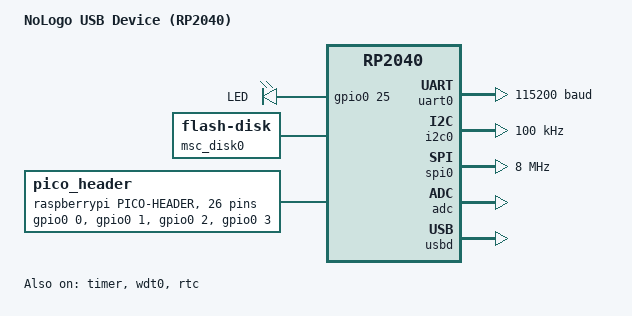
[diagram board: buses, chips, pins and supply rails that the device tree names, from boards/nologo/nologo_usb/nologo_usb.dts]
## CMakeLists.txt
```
# SPDX-License-Identifier: Apache-2.0

cmake_minimum_required(VERSION 3.20.0)

# Custom board root
list(APPEND BOARD_ROOT ${CMAKE_CURRENT_SOURCE_DIR})

# Default nologo_usb2 to M33 core
if(BOARD STREQUAL "nologo_usb2")
  set(BOARD "nologo_usb2/rp2350a/m33" CACHE STRING "" FORCE)
endif()

# Build flavor: debug or release
if(NOT DEFINED NOLOGO_BUILD_FLAVOR)
  string(TOLOWER "${CMAKE_BUILD_TYPE}" _nologo_bt_lc)
  if(_nologo_bt_lc STREQUAL "debug")
    set(NOLOGO_BUILD_FLAVOR "debug")
  else()
    set(NOLOGO_BUILD_FLAVOR "release")
  endif()
endif()

if(NOLOGO_BUILD_FLAVOR STREQUAL "debug")
  set(CONF_FILE "prj.conf;prj.debug.conf" CACHE STRING "" FORCE)
else()
  set(CONF_FILE "prj.conf;prj.release.conf" CACHE STRING "" FORCE)
endif()

find_package(Zephyr REQUIRED HINTS $ENV{ZEPHYR_BASE})
project(nologo_usb)

target_sources(app PRIVATE
  src/app_main.c
  src/nologo_cdc.c
  src/nologo_config.c
  src/nologo_hid.c
  src/nologo_script.c
  src/nologo_status_led.c
  src/nologo_usb.c
)

if(NOLOGO_BUILD_FLAVOR STREQUAL "debug")
  target_compile_definitions(app PRIVATE NOLOGO_DEBUG=1)
else()
  target_compile_definitions(app PRIVATE NOLOGO_DEBUG=0)
endif()
```

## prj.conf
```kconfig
# nologo_usb / nologo_usb2 common configuration

# Console on UART0 (printk goes here)
CONFIG_CONSOLE=y
CONFIG_UART_CONSOLE=y
CONFIG_PRINTK=y

CONFIG_SERIAL=y
CONFIG_UART_INTERRUPT_DRIVEN=y
CONFIG_UART_LINE_CTRL=y

# USB device stack (new stack)
CONFIG_USB_DEVICE_STACK_NEXT=y
CONFIG_USBD_HID_SUPPORT=y
CONFIG_USBD_CDC_ACM_CLASS=y

# Flash storage + FAT filesystem
CONFIG_DISK_ACCESS=y
CONFIG_DISK_DRIVER_FLASH=y
CONFIG_FILE_SYSTEM=y
CONFIG_FAT_FILESYSTEM_ELM=y
CONFIG_FS_FATFS_NUM_FILES=4
CONFIG_FS_FATFS_NUM_DIRS=4

# Logging (ERR level for UDC driver to hide transient "Endpoint busy" warnings)
CONFIG_LOG=y
CONFIG_USBD_LOG_LEVEL_WRN=y
CONFIG_UDC_DRIVER_LOG_LEVEL_ERR=y
CONFIG_USBD_HID_LOG_LEVEL_WRN=y
CONFIG_FLASHDISK_LOG_LEVEL_WRN=y

# WS2812 LED
CONFIG_LED_STRIP=y
CONFIG_WS2812_STRIP_RPI_PICO_PIO=y

# GPIO (for script disable pin)
CONFIG_GPIO=y

CONFIG_MAIN_STACK_SIZE=2048

# Heap for k_malloc (used by script parser)
CONFIG_HEAP_MEM_POOL_SIZE=4096
```

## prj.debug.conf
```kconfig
# Debug: USB MSC enabled

CONFIG_USBD_MSC_CLASS=y
CONFIG_USBD_MSC_LUNS_PER_INSTANCE=1
CONFIG_USBD_MSC_LOG_LEVEL_WRN=y
```

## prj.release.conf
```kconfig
# Release: USB MSC disabled

CONFIG_USBD_MSC_CLASS=n
```

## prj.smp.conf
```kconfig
#
# SMP / Multi-core Configuration Fragment (EXPERIMENTAL)
#
# This file is provided for reference. As of Zephyr 3.x, SMP is NOT
# officially supported on RP2040 or RP2350.
#
# RP2040 (Cortex-M0+) Limitations:
# - Cortex-M0+ lacks LDREX/STREX atomic instructions required for SMP spinlocks.
# - Zephyr's SMP implementation requires these atomics.
# - Multi-core usage requires platform-specific code (Pico SDK multicore API).
#
# RP2350 (Cortex-M33) Status:
# - Cortex-M33 has full atomic instruction support (ARMv8-M).
# - Zephyr SMP support is under development upstream.
# - May become available in future Zephyr releases.
#
# Alternative: Use Zephyr's cooperative threading model which provides
# effective concurrency through:
# - Multiple threads with priorities
# - Work queues (k_work, k_work_delayable)
# - Message queues, FIFOs, and other kernel primitives
#
# When SMP support is available upstream, enable with:
# CONFIG_SMP=y
# CONFIG_MP_MAX_NUM_CPUS=2
#
# For now, these settings are commented out:
# CONFIG_SMP=y
# CONFIG_MP_MAX_NUM_CPUS=2
# CONFIG_SCHED_IPI_SUPPORTED=y
```

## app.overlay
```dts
/*
 * Minimal devicetree overlay for:
 * - USB CDC ACM (RP2040 internal USB device controller)
 * - WS2812 LED strip on GPIO22 (PIO-based driver)
 */

#include <freq.h>
#include <zephyr/dt-bindings/gpio/gpio.h>
#include <zephyr/dt-bindings/led/led.h>
#include <zephyr/dt-bindings/pinctrl/rpi-pico-rp2040-pinctrl.h>

/ {
    /*
     * Keep console on UART0 for reliable early boot.
     * In Debug builds we route printk to USB CDC (and mirror to UART0) in firmware.
     */

    /* USB HID keyboard device (boot keyboard) */
    hid_dev_0: hid_dev_0 {
        compatible = "zephyr,hid-device";
        label = "HID0";
        protocol-code = "keyboard";
        /* Boot keyboard input report is 8 bytes */
        in-report-size = <8>;
        in-polling-period-us = <1000>;
    };

    aliases {
        led-strip = &ws2812;
    };

    /* Flash-backed disk for USB MSC (uses part of onboard flash) */
    msc_disk0 {
        compatible = "zephyr,flash-disk";
        partition = <&storage_partition>;
        disk-name = "NAND";
        cache-size = <4096>;
    };
};

/*
 * Reserve a slice of flash for the USB Mass Storage LUN.
 *
 * NOTE: Offset/size are relative to the start of flash0.
 * Default is the last 512 KiB of a 4 MiB flash (0x380000..0x3fffff).
 * If your application grows close to the end of flash, shrink/move this.
 */
&flash0 {
    partitions {
        compatible = "fixed-partitions";
        #address-cells = <1>;
        #size-cells = <1>;

        storage_partition: partition@380000 {
            label = "storage";
            reg = <0x00380000 0x00080000>;
        };
    };
};

/* PIO0 is disabled in the SoC dtsi; enable it for WS2812 */
&pio0 {
    status = "okay";

    pio-ws2812 {
        compatible = "worldsemi,ws2812-rpi_pico-pio";
        status = "okay";
        pinctrl-0 = <&ws2812_pio0_default>;
        pinctrl-names = "default";
        bit-waveform = <3>, <3>, <4>;

        ws2812: ws2812 {
            status = "okay";
            gpios = <&gpio0 22 GPIO_ACTIVE_HIGH>;
            chain-length = <1>;
            /*
             * Most WS2812/NeoPixel parts are GRB.
             * Keep status LED semantics: green=pressure, blue=printk, red=fault.
             */
            color-mapping = <LED_COLOR_ID_GREEN
                     LED_COLOR_ID_RED
                     LED_COLOR_ID_BLUE>;
            reset-delay = <280>;
            frequency = <DT_FREQ_K(800)>;
        };
    };
};

&pinctrl {
    ws2812_pio0_default: ws2812_pio0_default {
        ws2812 {
            pinmux = <PIO0_P22>;
        };
    };
};

/* Add USB CDC ACM UART instance to USB device controller */
&zephyr_udc0 {
    cdc_acm_uart0: cdc_acm_uart0 {
        compatible = "zephyr,cdc-acm-uart";
    };
};

/* UART0 remains enabled by the board, but console is redirected to USB */
```

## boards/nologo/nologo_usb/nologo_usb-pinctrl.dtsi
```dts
/*
 * SPDX-License-Identifier: Apache-2.0
 * nologo_usb pin control configuration (based on rpi_pico)
 */

#include <zephyr/dt-bindings/pinctrl/rpi-pico-rp2040-pinctrl.h>

&pinctrl {
	uart0_default: uart0_default {
		group1 {
			pinmux = <UART0_TX_P0>;
		};

		group2 {
			pinmux = <UART0_RX_P1>;
			input-enable;
		};
	};

	i2c0_default: i2c0_default {
		group1 {
			pinmux = <I2C0_SDA_P4>, <I2C0_SCL_P5>;
			input-enable;
			input-schmitt-enable;
		};
	};

	i2c1_default: i2c1_default {
		group1 {
			pinmux = <I2C1_SDA_P6>, <I2C1_SCL_P7>;
			input-enable;
			input-schmitt-enable;
		};
	};

	spi0_default: spi0_default {
		group1 {
			pinmux = <SPI0_CSN_P17>, <SPI0_SCK_P18>, <SPI0_TX_P19>;
		};

		group2 {
			pinmux = <SPI0_RX_P16>;
			input-enable;
		};
	};

	pwm_ch4b_default: pwm_ch4b_default {
		group1 {
			pinmux = <PWM_4B_P25>;
		};
	};

	adc_default: adc_default {
		group1 {
			pinmux = <ADC_CH0_P26>, <ADC_CH1_P27>, <ADC_CH2_P28>, <ADC_CH3_P29>;
			input-enable;
		};
	};

	/* WS2812 on GPIO22 via PIO0 */
	ws2812_pio0_default: ws2812_pio0_default {
		ws2812 {
			pinmux = <PIO0_P22>;
		};
	};
};
```

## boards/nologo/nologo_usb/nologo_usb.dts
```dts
/*
 * SPDX-License-Identifier: Apache-2.0
 *
 * NoLogo USB Device board definition based on Raspberry Pi Pico (RP2040)
 * Includes:
 * - USB CDC ACM (RP2040 internal USB device controller)
 * - WS2812 LED strip on GPIO22 (PIO-based driver)
 * - USB HID keyboard support
 * - Flash-backed USB MSC storage
 */

/dts-v1/;

#include <freq.h>
#include <raspberrypi/rpi_pico/rp2040.dtsi>
#include "nologo_usb-pinctrl.dtsi"

#include <zephyr/dt-bindings/gpio/gpio.h>
#include <zephyr/dt-bindings/led/led.h>
#include <zephyr/dt-bindings/pwm/pwm.h>
#include <zephyr/dt-bindings/i2c/i2c.h>

/ {
	model = "NoLogo USB Device (RP2040)";
	compatible = "nologo,nologo-usb", "raspberrypi,rpi-pico";

	chosen {
		zephyr,sram = &sram0;
		zephyr,flash = &flash0;
		zephyr,flash-controller = &ssi;
		zephyr,console = &uart0;
		zephyr,shell-uart = &uart0;
		zephyr,code-partition = &code_partition;
	};

	aliases {
		rtc = &rtc;
		watchdog0 = &wdt0;
		led0 = &led0;
		pwm-led0 = &pwm_led0;
		led-strip = &ws2812;
	};

	/* On-board LED (GPIO25) */
	leds {
		compatible = "gpio-leds";

		led0: led_0 {
			gpios = <&gpio0 25 GPIO_ACTIVE_HIGH>;
			label = "LED";
		};
	};

	pwm_leds {
		compatible = "pwm-leds";
		status = "disabled";

		pwm_led0: pwm_led_0 {
			pwms = <&pwm 9 PWM_MSEC(20) PWM_POLARITY_NORMAL>;
			label = "PWM_LED";
		};
	};

	/* USB HID keyboard device (boot keyboard) */
	hid_dev_0: hid_dev_0 {
		compatible = "zephyr,hid-device";
		label = "HID0";
		protocol-code = "keyboard";
		/* Boot keyboard input report is 8 bytes */
		in-report-size = <8>;
		/*
		 * Polling period: 8ms is a good balance for keyboard.
		 * 1ms was too aggressive and caused "Endpoint busy" errors
		 * on RP2040 USB controller.
		 */
		in-polling-period-us = <8000>;
	};

	/* Flash-backed disk for USB MSC (uses part of onboard flash) */
	msc_disk0 {
		compatible = "zephyr,flash-disk";
		partition = <&storage_partition>;
		disk-name = "NAND";
		cache-size = <4096>;
	};

	pico_header: connector {
		compatible = "raspberrypi,pico-header";
		#gpio-cells = <2>;
		gpio-map-mask = <0xffffffff 0xffffffc0>;
		gpio-map-pass-thru = <0 0x3f>;
		gpio-map = <0 0 &gpio0 0 0>,	/* GP0 */
			   <1 0 &gpio0 1 0>,	/* GP1 */
			   <2 0 &gpio0 2 0>,	/* GP2 */
			   <3 0 &gpio0 3 0>,	/* GP3 */
			   <4 0 &gpio0 4 0>,	/* GP4 */
			   <5 0 &gpio0 5 0>,	/* GP5 */
			   <6 0 &gpio0 6 0>,	/* GP6 */
			   <7 0 &gpio0 7 0>,	/* GP7 */
			   <8 0 &gpio0 8 0>,	/* GP8 */
			   <9 0 &gpio0 9 0>,	/* GP9 */
			   <10 0 &gpio0 10 0>,	/* GP10 */
			   <11 0 &gpio0 11 0>,	/* GP11 */
			   <12 0 &gpio0 12 0>,	/* GP12 */
			   <13 0 &gpio0 13 0>,	/* GP13 */
			   <14 0 &gpio0 14 0>,	/* GP14 */
			   <15 0 &gpio0 15 0>,	/* GP15 */
			   <16 0 &gpio0 16 0>,	/* GP16 */
			   <17 0 &gpio0 17 0>,	/* GP17 */
			   <18 0 &gpio0 18 0>,	/* GP18 */
			   <19 0 &gpio0 19 0>,	/* GP19 */
			   <20 0 &gpio0 20 0>,	/* GP20 */
			   <21 0 &gpio0 21 0>,	/* GP21 */
			   <22 0 &gpio0 22 0>,	/* GP22 */
			   <26 0 &gpio0 26 0>,	/* GP26 */
			   <27 0 &gpio0 27 0>,	/* GP27 */
			   <28 0 &gpio0 28 0>;	/* GP28 */
	};
};

/*
 * Flash partitions:
 * - 4 MiB total flash (common configuration)
 * - Last 512 KiB reserved for USB MSC storage
 */
&flash0 {
	reg = <0x10000000 DT_SIZE_M(4)>;

	partitions {
		compatible = "fixed-partitions";
		#address-cells = <1>;
		#size-cells = <1>;

		/* Reserved memory for the second stage bootloader */
		second_stage_bootloader: partition@0 {
			label = "second_stage_bootloader";
			reg = <0x00000000 0x100>;
			read-only;
		};

		/*
		 * Usable flash. Starts at 0x100, after the bootloader.
		 * Size is adjusted to leave room for storage partition.
		 */
		code_partition: partition@100 {
			label = "code-partition";
			reg = <0x100 0x37ff00>;
			read-only;
		};

		/*
		 * Storage partition for USB MSC.
		 * 512 KiB at the end of 4 MiB flash (0x380000..0x3fffff).
		 */
		storage_partition: partition@380000 {
			label = "storage";
			reg = <0x00380000 0x00080000>;
		};
	};
};

&uart0 {
	current-speed = <115200>;
	status = "okay";
	pinctrl-0 = <&uart0_default>;
	pinctrl-names = "default";
};

&gpio0 {
	status = "okay";
};

&i2c0 {
	clock-frequency = <I2C_BITRATE_STANDARD>;
	status = "okay";
	pinctrl-0 = <&i2c0_default>;
	pinctrl-names = "default";
};

&i2c1 {
	pinctrl-0 = <&i2c1_default>;
	pinctrl-names = "default";
	status = "disabled";
	clock-frequency = <I2C_BITRATE_FAST>;
};

&spi0 {
	clock-frequency = <DT_FREQ_M(8)>;
	status = "okay";
	pinctrl-0 = <&spi0_default>;
	pinctrl-names = "default";
};

&timer {
	status = "okay";
};

&wdt0 {
	status = "okay";
};

&rtc {
	clocks = <&clocks RPI_PICO_CLKID_CLK_RTC>;
	status = "okay";
};

&adc {
	status = "okay";
	pinctrl-0 = <&adc_default>;
	pinctrl-names = "default";
};

/* USB device controller */
zephyr_udc0: &usbd {
	status = "okay";

	/* USB CDC ACM UART instance for serial demo */
	cdc_acm_uart0: cdc_acm_uart0 {
		compatible = "zephyr,cdc-acm-uart";
	};
};

&pwm {
	pinctrl-0 = <&pwm_ch4b_default>;
	pinctrl-names = "default";
};

&vreg {
	regulator-always-on;
	regulator-allowed-modes = <REGULATOR_RPI_PICO_MODE_NORMAL>;
};

/* PIO0 for WS2812 LED strip */
&pio0 {
	status = "okay";

	pio-ws2812 {
		compatible = "worldsemi,ws2812-rpi_pico-pio";
		status = "okay";
		pinctrl-0 = <&ws2812_pio0_default>;
		pinctrl-names = "default";
		bit-waveform = <3>, <3>, <4>;

		ws2812: ws2812 {
			status = "okay";
			gpios = <&gpio0 22 GPIO_ACTIVE_HIGH>;
			chain-length = <1>;
			/*
			 * Most WS2812/NeoPixel parts are GRB.
			 * Keep status LED semantics: green=pressure, blue=printk, red=fault.
			 */
			color-mapping = <LED_COLOR_ID_GREEN
					 LED_COLOR_ID_RED
					 LED_COLOR_ID_BLUE>;
			reset-delay = <280>;
			frequency = <DT_FREQ_K(800)>;
		};
	};
};

/* Convenient aliases */
pico_spi: &spi0 {};
pico_i2c0: &i2c0 {};
pico_i2c1: &i2c1 {};
pico_serial: &uart0 {};
```

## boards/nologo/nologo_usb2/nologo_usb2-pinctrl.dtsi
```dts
/*
 * SPDX-License-Identifier: Apache-2.0
 * nologo_usb2 pin control configuration (based on rpi_pico2)
 */

#include <zephyr/dt-bindings/pinctrl/rpi-pico-rp2350a-pinctrl.h>

&pinctrl {
	uart0_default: uart0_default {
		group1 {
			pinmux = <UART0_TX_P0>;
		};

		group2 {
			pinmux = <UART0_RX_P1>;
			input-enable;
		};
	};

	i2c0_default: i2c0_default {
		group1 {
			pinmux = <I2C0_SDA_P4>, <I2C0_SCL_P5>;
			input-enable;
			input-schmitt-enable;
		};
	};

	i2c1_default: i2c1_default {
		group1 {
			pinmux = <I2C1_SDA_P6>, <I2C1_SCL_P7>;
			input-enable;
			input-schmitt-enable;
		};
	};

	spi0_default: spi0_default {
		group1 {
			pinmux = <SPI0_CSN_P17>, <SPI0_SCK_P18>, <SPI0_TX_P19>;
		};

		group2 {
			pinmux = <SPI0_RX_P16>;
			input-enable;
		};
	};

	pwm_ch4b_default: pwm_ch4b_default {
		group1 {
			pinmux = <PWM_4B_P25>;
		};
	};

	adc_default: adc_default {
		group1 {
			pinmux = <ADC_CH0_P26>, <ADC_CH1_P27>, <ADC_CH2_P28>, <ADC_CH3_P29>;
			input-enable;
		};
	};

	/* WS2812 on GPIO22 via PIO0 */
	ws2812_pio0_default: ws2812_pio0_default {
		ws2812 {
			pinmux = <PIO0_P22>;
		};
	};
};
```

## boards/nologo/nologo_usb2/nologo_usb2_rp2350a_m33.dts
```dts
/*
 * SPDX-License-Identifier: Apache-2.0
 *
 * NoLogo USB Device 2 board definition based on Raspberry Pi Pico 2 (RP2350A M33)
 * Includes:
 * - USB CDC ACM (RP2350 internal USB device controller)
 * - WS2812 LED strip on GPIO22 (PIO-based driver)
 * - USB HID keyboard support
 * - Flash-backed USB MSC storage
 */

/dts-v1/;

#include <freq.h>
#include <raspberrypi/rpi_pico/rp2350a.dtsi>
#include <raspberrypi/rpi_pico/m33.dtsi>
#include "nologo_usb2-pinctrl.dtsi"

#include <zephyr/dt-bindings/gpio/gpio.h>
#include <zephyr/dt-bindings/led/led.h>
#include <zephyr/dt-bindings/pwm/pwm.h>
#include <zephyr/dt-bindings/i2c/i2c.h>

/ {
	model = "NoLogo USB Device 2 (RP2350)";
	compatible = "nologo,nologo-usb2", "raspberrypi,rpi-pico2";

	chosen {
		zephyr,sram = &sram0;
		zephyr,flash = &flash0;
		zephyr,flash-controller = &qmi;
		zephyr,console = &uart0;
		zephyr,shell-uart = &uart0;
	};

	aliases {
		watchdog0 = &wdt0;
		led0 = &led0;
		pwm-led0 = &pwm_led0;
		led-strip = &ws2812;
	};

	/* On-board LED (GPIO25) */
	leds {
		compatible = "gpio-leds";

		led0: led_0 {
			gpios = <&gpio0 25 GPIO_ACTIVE_HIGH>;
			label = "LED";
		};
	};

	pwm_leds {
		compatible = "pwm-leds";
		status = "disabled";

		pwm_led0: pwm_led_0 {
			pwms = <&pwm 9 PWM_MSEC(20) PWM_POLARITY_NORMAL>;
			label = "PWM_LED";
		};
	};

	/* USB HID keyboard device (boot keyboard) */
	hid_dev_0: hid_dev_0 {
		compatible = "zephyr,hid-device";
		label = "HID0";
		protocol-code = "keyboard";
		/* Boot keyboard input report is 8 bytes */
		in-report-size = <8>;
		/*
		 * Polling period: 8ms is a good balance for keyboard.
		 * 1ms was too aggressive and caused "Endpoint busy" errors
		 * on RP2350 USB controller.
		 */
		in-polling-period-us = <8000>;
	};

	/* Flash-backed disk for USB MSC (uses part of onboard flash) */
	msc_disk0 {
		compatible = "zephyr,flash-disk";
		partition = <&storage_partition>;
		disk-name = "NAND";
		cache-size = <4096>;
	};

	pico_header: connector {
		compatible = "raspberrypi,pico-header";
		#gpio-cells = <2>;
		gpio-map-mask = <0xffffffff 0xffffffc0>;
		gpio-map-pass-thru = <0 0x3f>;
		gpio-map = <0 0 &gpio0 0 0>,	/* GP0 */
			   <1 0 &gpio0 1 0>,	/* GP1 */
			   <2 0 &gpio0 2 0>,	/* GP2 */
			   <3 0 &gpio0 3 0>,	/* GP3 */
			   <4 0 &gpio0 4 0>,	/* GP4 */
			   <5 0 &gpio0 5 0>,	/* GP5 */
			   <6 0 &gpio0 6 0>,	/* GP6 */
			   <7 0 &gpio0 7 0>,	/* GP7 */
			   <8 0 &gpio0 8 0>,	/* GP8 */
			   <9 0 &gpio0 9 0>,	/* GP9 */
			   <10 0 &gpio0 10 0>,	/* GP10 */
			   <11 0 &gpio0 11 0>,	/* GP11 */
			   <12 0 &gpio0 12 0>,	/* GP12 */
			   <13 0 &gpio0 13 0>,	/* GP13 */
			   <14 0 &gpio0 14 0>,	/* GP14 */
			   <15 0 &gpio0 15 0>,	/* GP15 */
			   <16 0 &gpio0 16 0>,	/* GP16 */
			   <17 0 &gpio0 17 0>,	/* GP17 */
			   <18 0 &gpio0 18 0>,	/* GP18 */
			   <19 0 &gpio0 19 0>,	/* GP19 */
			   <20 0 &gpio0 20 0>,	/* GP20 */
			   <21 0 &gpio0 21 0>,	/* GP21 */
			   <22 0 &gpio0 22 0>,	/* GP22 */
			   <26 0 &gpio0 26 0>,	/* GP26 */
			   <27 0 &gpio0 27 0>,	/* GP27 */
			   <28 0 &gpio0 28 0>;	/* GP28 */
	};
};

/*
 * Flash partitions:
 * - 4 MiB total flash
 * - Last 512 KiB reserved for USB MSC storage
 */
&flash0 {
	reg = <0x10000000 DT_SIZE_M(4)>;

	partitions {
		compatible = "fixed-partitions";
		#address-cells = <1>;
		#size-cells = <1>;

		/*
		 * Storage partition for USB MSC.
		 * 512 KiB at the end of 4 MiB flash (0x380000..0x3fffff).
		 */
		storage_partition: partition@380000 {
			label = "storage";
			reg = <0x00380000 0x00080000>;
		};
	};
};

&uart0 {
	current-speed = <115200>;
	status = "okay";
	pinctrl-0 = <&uart0_default>;
	pinctrl-names = "default";
};

gpio0_lo: &gpio0 {
	status = "okay";
};

&spi0 {
	clock-frequency = <DT_FREQ_M(8)>;
	pinctrl-0 = <&spi0_default>;
	pinctrl-names = "default";
};

&i2c0 {
	clock-frequency = <I2C_BITRATE_STANDARD>;
	pinctrl-0 = <&i2c0_default>;
	pinctrl-names = "default";
	status = "okay";
};

&i2c1 {
	clock-frequency = <I2C_BITRATE_STANDARD>;
	pinctrl-0 = <&i2c1_default>;
	pinctrl-names = "default";
	status = "okay";
};

&adc {
	pinctrl-0 = <&adc_default>;
	pinctrl-names = "default";
	status = "okay";
};

&pwm {
	pinctrl-0 = <&pwm_ch4b_default>;
	pinctrl-names = "default";
	divider-int-0 = <255>;
};

&timer0 {
	status = "okay";
};

&wdt0 {
	status = "okay";
};

/* USB device controller */
zephyr_udc0: &usbd {
	status = "okay";

	/* USB CDC ACM UART instance for serial demo */
	cdc_acm_uart0: cdc_acm_uart0 {
		compatible = "zephyr,cdc-acm-uart";
	};
};

/* PIO0 for WS2812 LED strip */
&pio0 {
	status = "okay";

	pio-ws2812 {
		compatible = "worldsemi,ws2812-rpi_pico-pio";
		status = "okay";
		pinctrl-0 = <&ws2812_pio0_default>;
		pinctrl-names = "default";
		bit-waveform = <3>, <3>, <4>;

		ws2812: ws2812 {
			status = "okay";
			gpios = <&gpio0 22 GPIO_ACTIVE_HIGH>;
			chain-length = <1>;
			/*
			 * Most WS2812/NeoPixel parts are GRB.
			 * Keep status LED semantics: green=pressure, blue=printk, red=fault.
			 */
			color-mapping = <LED_COLOR_ID_GREEN
					 LED_COLOR_ID_RED
					 LED_COLOR_ID_BLUE>;
			reset-delay = <280>;
			frequency = <DT_FREQ_K(800)>;
		};
	};
};

/* Convenient aliases */
pico_serial: &uart0 {};
```

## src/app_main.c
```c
// SPDX-License-Identifier: Apache-2.0

#include "nologo_build.h"
#include "nologo_cdc.h"
#include "nologo_config.h"
#include "nologo_hid.h"
#include "nologo_status_led.h"
#include "nologo_usb.h"

#include <zephyr/kernel.h>
#include <zephyr/sys/printk.h>

int main(void)
{
    nologo_status_init();
    (void)nologo_config_init();
    (void)nologo_hid_init();
    (void)nologo_usb_init();
    (void)nologo_cdc_init();
    nologo_status_init_done();

    k_sleep(K_FOREVER);
    return 0;
}
```

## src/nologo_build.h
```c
// SPDX-License-Identifier: Apache-2.0
#pragma once

/*
 * Build-mode switch selected by CMakeLists.txt.
 * - Debug:  NOLOGO_DEBUG=1
 * - Release: NOLOGO_DEBUG=0
 */
#ifndef NOLOGO_DEBUG
#define NOLOGO_DEBUG 0
#endif
```

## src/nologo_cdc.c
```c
// SPDX-License-Identifier: Apache-2.0

#include "nologo_cdc.h"
#include "nologo_status_led.h"

#include <zephyr/kernel.h>
#include <zephyr/device.h>
#include <zephyr/drivers/uart.h>
#include <zephyr/sys/printk.h>
#include <zephyr/sys/ring_buffer.h>

#include <errno.h>
#include <string.h>

#if IS_ENABLED(CONFIG_USBD_CDC_ACM_CLASS)

static const struct device *const cdc_dev = DEVICE_DT_GET(DT_NODELABEL(cdc_acm_uart0));

/* Handshake state */
static volatile bool handshake_done = false;
static struct k_sem handshake_sem;

/* Sync state */
static struct k_sem sync_sem;

/* DTR semaphore - signaled from USB message callback */
static struct k_sem dtr_sem;
static volatile bool dtr_set = false;

/* Ring buffer for RX data */
#define RX_RING_BUF_SIZE 512
RING_BUF_DECLARE(rx_ring_buf, RX_RING_BUF_SIZE);

/* RX throttle flag */
static bool rx_throttled = false;

/* Receive buffer for signal detection */
#define RX_BUF_SIZE 64
static char rx_buf[RX_BUF_SIZE];
static size_t rx_pos = 0;

/* Signal strings */
static const char *handshake_req = NOLOGO_CDC_HANDSHAKE_REQ;
static const size_t handshake_req_len = sizeof(NOLOGO_CDC_HANDSHAKE_REQ) - 1;

static const char *sync_host_done = NOLOGO_CDC_SYNC_HOST_DONE;
static const size_t sync_host_done_len = sizeof(NOLOGO_CDC_SYNC_HOST_DONE) - 1;

/* Debug counters */
static volatile uint32_t isr_call_count = 0;
static volatile uint32_t rx_byte_count = 0;

/**
 * @brief Check if buffer ends with a given string
 */
static bool check_buffer_ends_with(const char *str, size_t str_len)
{
    if (rx_pos < str_len) {
        return false;
    }

    const char *check_start = rx_buf + rx_pos - str_len;
    return (memcmp(check_start, str, str_len) == 0);
}

/**
 * @brief Check if buffer contains handshake request
 */
static bool check_handshake(void)
{
    return check_buffer_ends_with(handshake_req, handshake_req_len);
}

/**
 * @brief Check if buffer contains sync signal from host
 */
static bool check_sync_host(void)
{
    return check_buffer_ends_with(sync_host_done, sync_host_done_len);
}

/**
 * @brief UART interrupt callback for CDC ACM
 */
static void cdc_uart_isr(const struct device *dev, void *user_data)
{
    ARG_UNUSED(user_data);

    isr_call_count++;

    while (uart_irq_update(dev) && uart_irq_is_pending(dev)) {
        if (!rx_throttled && uart_irq_rx_ready(dev)) {
            uint8_t buffer[64];
            size_t space = ring_buf_space_get(&rx_ring_buf);
            size_t len = MIN(space, sizeof(buffer));

            if (len == 0) {
                /* Throttle because ring buffer is full */
                uart_irq_rx_disable(dev);
                rx_throttled = true;
                continue;
            }

            int recv_len = uart_fifo_read(dev, buffer, len);
            if (recv_len > 0) {
                rx_byte_count += recv_len;
                ring_buf_put(&rx_ring_buf, buffer, recv_len);
            }
        }
    }
}

/**
 * @brief Process received data from ring buffer
 */
static void process_rx_data(void)
{
    uint8_t buf[64];
    size_t len;

    while ((len = ring_buf_get(&rx_ring_buf, buf, sizeof(buf))) > 0) {
        /* Re-enable RX if throttled */
        if (rx_throttled) {
            uart_irq_rx_enable(cdc_dev);
            rx_throttled = false;
        }

        for (size_t i = 0; i < len; i++) {
            /* Add to detection buffer (circular) */
            if (rx_pos >= RX_BUF_SIZE - 1) {
                memmove(rx_buf, rx_buf + 1, RX_BUF_SIZE - 1);
                rx_pos = RX_BUF_SIZE - 1;
            }
            rx_buf[rx_pos++] = (char)buf[i];
        }

        /* Check for handshake */
        if (!handshake_done && check_handshake()) {
            printk("cdc: handshake received!\n");

            /* Send response */
            const char *resp = NOLOGO_CDC_HANDSHAKE_RESP;
            size_t resp_len = strlen(resp);
            for (size_t j = 0; j < resp_len; j++) {
                uart_poll_out(cdc_dev, resp[j]);
            }

            handshake_done = true;
            k_sem_give(&handshake_sem);
            nologo_status_blink_green();

            rx_pos = 0;
        }

        /* Check for sync signal from host */
        if (check_sync_host()) {
            printk("cdc: sync signal received from host!\n");
            k_sem_give(&sync_sem);
            nologo_status_blink_green();

            rx_pos = 0;
        }
    }
}

/**
 * @brief CDC receive thread
 */
static void cdc_rx_thread(void *a, void *b, void *c)
{
    ARG_UNUSED(a);
    ARG_UNUSED(b);
    ARG_UNUSED(c);

    while (!device_is_ready(cdc_dev)) {
        k_msleep(100);
    }

    printk("cdc: rx thread started\n");

    while (1) {
        /* Wait for DTR signal from USB callback */
        printk("cdc: waiting for DTR...\n");
        k_sem_take(&dtr_sem, K_FOREVER);

        if (!dtr_set) {
            continue;
        }

        printk("cdc: DTR set, host connected!\n");

        /* Set DCD and DSR to signal ready (optional but recommended) */
        uart_line_ctrl_set(cdc_dev, UART_LINE_CTRL_DCD, 1);
        uart_line_ctrl_set(cdc_dev, UART_LINE_CTRL_DSR, 1);

        /* Wait 100ms for host to complete all settings (per Zephyr sample) */
        k_msleep(100);

        /* Enable interrupt-driven RX now */
        uart_irq_callback_set(cdc_dev, cdc_uart_isr);
        uart_irq_rx_enable(cdc_dev);

        printk("cdc: RX interrupts enabled, waiting for handshake\n");

        /* Process data while DTR is set */
        while (dtr_set) {
            /* Process any received data */
            if (!ring_buf_is_empty(&rx_ring_buf)) {
                process_rx_data();
            }

            /* Brief sleep to yield CPU */
            k_msleep(10);
        }

        /* DTR cleared, disable RX and reset state */
        uart_irq_rx_disable(cdc_dev);

        printk("cdc: DTR cleared, host disconnected (isr=%u, rx=%u bytes)\n",
               isr_call_count, rx_byte_count);

        /* Reset state for next connection */
        handshake_done = false;
        rx_pos = 0;
        rx_throttled = false;
        ring_buf_reset(&rx_ring_buf);
    }
}

K_THREAD_DEFINE(cdc_rx_thread_id, 2048, cdc_rx_thread,
                NULL, NULL, NULL, 7, 0, K_TICKS_FOREVER);

void nologo_cdc_notify_dtr_set(void)
{
    dtr_set = true;
    k_sem_give(&dtr_sem);
}

void nologo_cdc_notify_dtr_clear(void)
{
    dtr_set = false;
    k_sem_give(&dtr_sem);
}

bool nologo_cdc_is_handshake_done(void)
{
    return handshake_done;
}

int nologo_cdc_wait_handshake(uint32_t timeout_ms)
{
    if (handshake_done) {
        return 0;
    }

    k_timeout_t timeout = (timeout_ms == 0) ? K_FOREVER : K_MSEC(timeout_ms);
    int ret = k_sem_take(&handshake_sem, timeout);

    if (ret == -EAGAIN) {
        return -ETIMEDOUT;
    }

    return 0;
}

int nologo_cdc_wait_host(uint32_t timeout_ms)
{
    k_timeout_t timeout = (timeout_ms == 0) ? K_FOREVER : K_MSEC(timeout_ms);
    int ret = k_sem_take(&sync_sem, timeout);

    if (ret == -EAGAIN) {
        return -ETIMEDOUT;
    }

    return 0;
}

int nologo_cdc_signal_host(void)
{
    if (!device_is_ready(cdc_dev)) {
        return -ENODEV;
    }

    const char *msg = NOLOGO_CDC_SYNC_DEVICE_DONE;
    size_t len = strlen(msg);

    for (size_t i = 0; i < len; i++) {
        uart_poll_out(cdc_dev, msg[i]);
    }

    printk("cdc: sync signal sent to host\n");
    return 0;
}

int nologo_cdc_send(const char *msg, size_t len)
{
    if (!device_is_ready(cdc_dev)) {
        return -ENODEV;
    }

    for (size_t i = 0; i < len; i++) {
        uart_poll_out(cdc_dev, msg[i]);
    }

    return 0;
}

int nologo_cdc_init(void)
{
    if (!device_is_ready(cdc_dev)) {
        return -ENODEV;
    }

    k_sem_init(&handshake_sem, 0, 1);
    k_sem_init(&sync_sem, 0, K_SEM_MAX_LIMIT);
    k_sem_init(&dtr_sem, 0, 1);
    k_thread_start(cdc_rx_thread_id);

    printk("cdc: initialized, waiting for handshake (%s)\n", handshake_req);
    return 0;
}

#else

void nologo_cdc_notify_dtr_set(void) {}
void nologo_cdc_notify_dtr_clear(void) {}

bool nologo_cdc_is_handshake_done(void)
{
    return false;
}

int nologo_cdc_wait_handshake(uint32_t timeout_ms)
{
    ARG_UNUSED(timeout_ms);
    return -ENOTSUP;
}

int nologo_cdc_wait_host(uint32_t timeout_ms)
{
    ARG_UNUSED(timeout_ms);
    return -ENOTSUP;
}

int nologo_cdc_signal_host(void)
{
    return -ENOTSUP;
}

int nologo_cdc_send(const char *msg, size_t len)
{
    ARG_UNUSED(msg);
    ARG_UNUSED(len);
    return -ENOTSUP;
}

int nologo_cdc_init(void)
{
    printk("cdc: CDC ACM not enabled\n");
    return -ENOTSUP;
}

#endif
```

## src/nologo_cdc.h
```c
// SPDX-License-Identifier: Apache-2.0
#pragma once

#include <stdbool.h>
#include <stddef.h>
#include <stdint.h>

/**
 * Handshake magic string.
 * Client sends this string to initiate handshake.
 * Device responds with HANDSHAKE_RESP.
 */
#define NOLOGO_CDC_HANDSHAKE_REQ  "NOLOGO_SHAKE"
#define NOLOGO_CDC_HANDSHAKE_RESP "NOLOGO_ACK\r\n"

/**
 * Synchronization signals.
 * Used for bidirectional sync between device and host.
 *
 * Host -> Device: Host sends SYNC_HOST_DONE to signal completion
 * Device -> Host: Device sends SYNC_DEVICE_DONE to signal completion
 */
#define NOLOGO_CDC_SYNC_HOST_DONE   "NOLOGO_SYNC"
#define NOLOGO_CDC_SYNC_DEVICE_DONE "NOLOGO_DONE\r\n"

/**
 * Initialize the CDC serial interface.
 */
int nologo_cdc_init(void);

/**
 * Check if handshake has been completed.
 * @return true if handshake completed, false otherwise
 */
bool nologo_cdc_is_handshake_done(void);

/**
 * Wait for handshake to complete with timeout.
 * @param timeout_ms Timeout in milliseconds (0 = wait forever)
 * @return 0 on success, -ETIMEDOUT on timeout
 */
int nologo_cdc_wait_handshake(uint32_t timeout_ms);

/**
 * Wait for host to send sync signal (NOLOGO_SYNC).
 * @param timeout_ms Timeout in milliseconds (0 = wait forever)
 * @return 0 on success, -ETIMEDOUT on timeout
 */
int nologo_cdc_wait_host(uint32_t timeout_ms);

/**
 * Signal host that device has completed (sends NOLOGO_DONE).
 * @return 0 on success, negative error code on failure
 */
int nologo_cdc_signal_host(void);

/**
 * Send a message via CDC serial.
 * @param msg Message to send
 * @param len Length of message
 * @return 0 on success, negative error code on failure
 */
int nologo_cdc_send(const char *msg, size_t len);

/**
 * Notify CDC module that DTR has been set (host connected).
 * Called from USB message callback.
 */
void nologo_cdc_notify_dtr_set(void);

/**
 * Notify CDC module that DTR has been cleared (host disconnected).
 * Called from USB message callback.
 */
void nologo_cdc_notify_dtr_clear(void);
```

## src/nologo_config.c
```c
// SPDX-License-Identifier: Apache-2.0

#include "nologo_config.h"

#include <zephyr/kernel.h>
#include <zephyr/fs/fs.h>
#include <zephyr/storage/disk_access.h>
#include <zephyr/sys/printk.h>

#include <errno.h>
#include <string.h>

#include <ff.h>

#ifndef NOLOGO_CONFIG_PATH
#define NOLOGO_CONFIG_PATH "/NAND:/config"
#endif

#define NOLOGO_CONFIG_MAX_LEN 4096

static uint8_t config_buf[NOLOGO_CONFIG_MAX_LEN + 1];
static size_t config_len;

/* FATFS mount for NAND disk (read-only) */
static FATFS nand_fatfs;
static struct fs_mount_t nand_mnt = {
    .type = FS_FATFS,
    .mnt_point = "/NAND:",
    .fs_data = &nand_fatfs,
    .storage_dev = (void *)"NAND",
    .flags = FS_MOUNT_FLAG_NO_FORMAT | FS_MOUNT_FLAG_READ_ONLY |
         FS_MOUNT_FLAG_USE_DISK_ACCESS,
};

static int nand_fatfs_mount(void)
{
    int rc;

    rc = disk_access_init("NAND");
    if (rc != 0) {
        printk("fs: disk_access_init(NAND) failed (%d: %s)\n", rc, strerror(-rc));
        return rc;
    }

    rc = fs_mount(&nand_mnt);
    if (rc != 0) {
        printk("fs: mount %s failed (%d: %s)\n", nand_mnt.mnt_point, rc, strerror(-rc));
    }

    return rc;
}

static void nand_fatfs_unmount(void)
{
    int rc = fs_unmount(&nand_mnt);
    if (rc != 0) {
        printk("fs: unmount failed (%d: %s)\n", rc, strerror(-rc));
    }
}

int nologo_config_init(void)
{
    int rc;
    struct fs_file_t f;

    config_len = 0;
    config_buf[0] = 0;

    rc = nand_fatfs_mount();
    if (rc != 0) {
        return rc;
    }

    fs_file_t_init(&f);
    rc = fs_open(&f, NOLOGO_CONFIG_PATH, FS_O_READ);
    if (rc != 0) {
        printk("fs: open %s failed (%d: %s)\n", NOLOGO_CONFIG_PATH, rc, strerror(-rc));
        nand_fatfs_unmount();
        return rc;
    }

    while (config_len < NOLOGO_CONFIG_MAX_LEN) {
        ssize_t n = fs_read(&f, &config_buf[config_len],
                    NOLOGO_CONFIG_MAX_LEN - config_len);
        if (n < 0) {
            printk("fs: read %s failed (%d: %s)\n", NOLOGO_CONFIG_PATH, (int)n, strerror((int)-n));
            (void)fs_close(&f);
            nand_fatfs_unmount();
            return (int)n;
        }
        if (n == 0) {
            break;
        }
        config_len += (size_t)n;
    }

    (void)fs_close(&f);
    nand_fatfs_unmount();

    config_buf[config_len] = 0;
    printk("fs: loaded %s (%u bytes), content:\n", NOLOGO_CONFIG_PATH, (unsigned)config_len);
    printk("%s\n", config_buf);
    return 0;
}

const uint8_t *nologo_config_get(size_t *len)
{
    if (len) {
        *len = config_len;
    }
    return config_buf;
}
```

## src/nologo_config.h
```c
// SPDX-License-Identifier: Apache-2.0
#pragma once

#include <stddef.h>
#include <stdint.h>

int nologo_config_init(void);
const uint8_t *nologo_config_get(size_t *len);
```

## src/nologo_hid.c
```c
// SPDX-License-Identifier: Apache-2.0

#include "nologo_hid.h"
#include "nologo_script.h"

int nologo_hid_init(void)
{
    return nologo_script_run();
}
```

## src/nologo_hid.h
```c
// SPDX-License-Identifier: Apache-2.0
#pragma once

int nologo_hid_init(void);
```

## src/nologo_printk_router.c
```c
// SPDX-License-Identifier: Apache-2.0

#include "nologo_printk_router.h"

#include "nologo_build.h"
#include "nologo_status_led.h"

#include <zephyr/kernel.h>
#include <zephyr/device.h>
#include <zephyr/drivers/uart.h>
#include <zephyr/sys/atomic.h>
#include <zephyr/sys/printk-hooks.h>
#include <zephyr/sys/ring_buffer.h>
#include <zephyr/sys/util.h>

#if NOLOGO_DEBUG && IS_ENABLED(CONFIG_USBD_CDC_ACM_CLASS)

/* USB CDC ACM device from devicetree (created under &zephyr_udc0 in app.overlay) */
static const struct device *const usb_uart_dev = DEVICE_DT_GET_ONE(zephyr_cdc_acm_uart);

/* printk -> USB CDC routing (buffered until DTR/configured) */
#define PRINTK_USB_RB_SIZE 2048
static uint8_t printk_usb_buf[PRINTK_USB_RB_SIZE];
static struct ring_buf printk_usb_rb;
static struct k_spinlock printk_usb_lock;

K_EVENT_DEFINE(printk_usb_ev);
#define PRINTK_USB_EVT_FLUSH BIT(0)

static atomic_t usb_dtr_set;
static atomic_t usb_configured;

static printk_hook_fn_t prev_printk_hook;

static int nologo_printk_hook(int c)
{
    nologo_status_mark_printk_activity();

    /* Default output: USB CDC (buffered). */
    k_spinlock_key_t key = k_spin_lock(&printk_usb_lock);
    (void)ring_buf_put(&printk_usb_rb, (const uint8_t *)&c, 1);
    k_spin_unlock(&printk_usb_lock, key);

    k_event_post(&printk_usb_ev, PRINTK_USB_EVT_FLUSH);

    /* Mirror all printk to UART console (prev hook). */
    if (prev_printk_hook) {
        (void)prev_printk_hook(c);
    }

    return c;
}

static void printk_usb_flush_thread(void *a, void *b, void *c)
{
    ARG_UNUSED(a);
    ARG_UNUSED(b);
    ARG_UNUSED(c);

    while (1) {
        (void)k_event_wait(&printk_usb_ev, PRINTK_USB_EVT_FLUSH, true, K_FOREVER);

        /* Flush after DTR or after configuration (some tools don't set DTR). */
        if ((atomic_get(&usb_dtr_set) == 0 && atomic_get(&usb_configured) == 0) ||
            !device_is_ready(usb_uart_dev)) {
            continue;
        }

        while (1) {
            uint8_t chunk[64];
            uint32_t n;

            k_spinlock_key_t key = k_spin_lock(&printk_usb_lock);
            n = ring_buf_get(&printk_usb_rb, chunk, sizeof(chunk));
            k_spin_unlock(&printk_usb_lock, key);

            if (n == 0) {
                break;
            }

            for (uint32_t i = 0; i < n; i++) {
                uart_poll_out(usb_uart_dev, chunk[i]);
            }
        }
    }
}

K_THREAD_DEFINE(printk_usb_thread_id, 1024, printk_usb_flush_thread,
        NULL, NULL, NULL, 6, 0, 0);

void nologo_printk_router_init(void)
{
    ring_buf_init(&printk_usb_rb, sizeof(printk_usb_buf), printk_usb_buf);

    prev_printk_hook = __printk_get_hook();
    __printk_hook_install(nologo_printk_hook);
}

void nologo_printk_router_on_usb_configured(void)
{
    atomic_set(&usb_configured, 1);
    k_event_post(&printk_usb_ev, PRINTK_USB_EVT_FLUSH);
}

void nologo_printk_router_on_usb_dtr_set(void)
{
    atomic_set(&usb_dtr_set, 1);
    k_event_post(&printk_usb_ev, PRINTK_USB_EVT_FLUSH);
}

#else

void nologo_printk_router_init(void) {}
void nologo_printk_router_on_usb_configured(void) {}
void nologo_printk_router_on_usb_dtr_set(void) {}

#endif
```

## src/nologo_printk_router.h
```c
// SPDX-License-Identifier: Apache-2.0
#pragma once

/* Install the printk router hook (debug builds only). */
void nologo_printk_router_init(void);

/* Notifications from USB layer (safe to call in any build). */
void nologo_printk_router_on_usb_configured(void);
void nologo_printk_router_on_usb_dtr_set(void);
```

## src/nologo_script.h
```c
// SPDX-License-Identifier: Apache-2.0
#pragma once

/**
 * @brief Initialize and execute the HID script from config
 *
 * This function parses the config file content using Rubber Ducky-like
 * syntax and executes HID keyboard operations accordingly.
 *
 * Supported commands:
 *   REM <comment>           - Comment line (ignored)
 *   DELAY <ms>              - Delay in milliseconds
 *   STRING <text>           - Type a string
 *   ENTER                   - Press Enter key
 *   TAB                     - Press Tab key
 *   SPACE                   - Press Space key
 *   BACKSPACE               - Press Backspace key
 *   DELETE                  - Press Delete key
 *   ESCAPE / ESC            - Press Escape key
 *   UP / DOWN / LEFT / RIGHT- Arrow keys
 *   HOME / END              - Home/End keys
 *   PAGEUP / PAGEDOWN       - Page Up/Down keys
 *   INSERT                  - Press Insert key
 *   CAPSLOCK                - Press Caps Lock key
 *   NUMLOCK                 - Press Num Lock key
 *   SCROLLLOCK              - Press Scroll Lock key
 *   PRINTSCREEN             - Press Print Screen key
 *   PAUSE                   - Press Pause key
 *   F1 - F12                - Function keys
 *   GUI / WINDOWS <key>     - Windows/Command key + optional key
 *   CTRL <key>              - Control + key
 *   ALT <key>               - Alt + key
 *   SHIFT <key>             - Shift + key
 *   CTRL-ALT <key>          - Control + Alt + key
 *   CTRL-SHIFT <key>        - Control + Shift + key
 *   ALT-SHIFT <key>         - Alt + Shift + key
 *   GUI-SHIFT <key>         - GUI + Shift + key
 *   REPEAT <n>              - Repeat previous command n times
 *   DEFAULT_DELAY <ms>      - Set default delay between commands
 *   STRING_DELAY <ms>       - Set typing speed (delay per key, default 50ms)
 *   WAIT_HANDSHAKE [ms]     - Wait for CDC serial handshake (optional timeout)
 *   WAIT_HOST [ms]          - Wait for host sync signal (optional timeout)
 *   SIGNAL_HOST             - Send sync signal to host
 *
 * Flow Control:
 *   LABEL <name>            - Define a label for GOTO target
 *   GOTO <name>             - Jump to a label
 *   LOOP <count>            - Start a loop block (repeats <count> times)
 *   ENDLOOP                 - End of loop block
 *
 * Example of LOOP:
 *   LOOP 5
 *   STRING Hello
 *   ENTER
 *   ENDLOOP
 *
 * Example of GOTO:
 *   LABEL start
 *   STRING Repeating...
 *   DELAY 1000
 *   GOTO start
 *
 * @return 0 on success, negative error code on failure
 */
int nologo_script_run(void);
```
